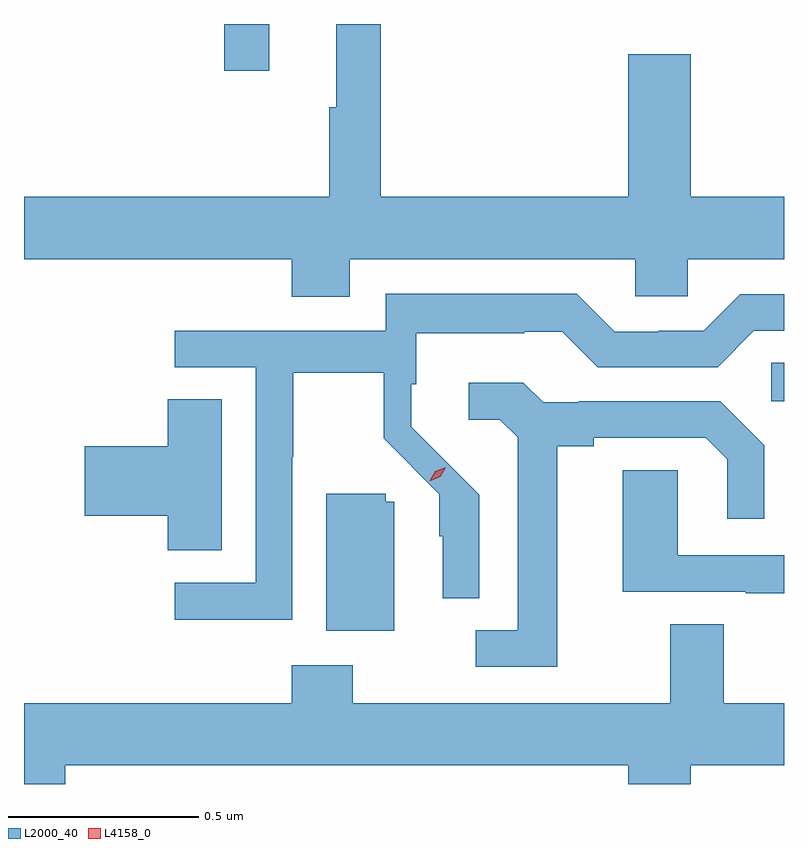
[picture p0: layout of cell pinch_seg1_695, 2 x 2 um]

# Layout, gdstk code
import gdstk
lib = gdstk.Library(unit=1e-6, precision=1e-09)
def R(c, l, rs):  # rectangles x0, y0, x1, y1
    for r in rs: c.add(gdstk.rectangle(r[:2], r[2:], *l))
def P(c, l, *ps):  # polygons
    for p in ps: c.add(gdstk.Polygon(p, *l))
L2000_40 = (2000, 40)
L4158_0 = (4158, 0)

pinch_seg1_695 = lib.new_cell('pinch_seg1_695')
R(pinch_seg1_695, L2000_40, [(668.88,570.006,668.914,570.107), (667.441,570.876,667.559,570.999)])
P(pinch_seg1_695, L2000_40, [(667.771,570.38),(668.523,570.38),(668.523,570.282),(668.661,570.282),(668.661,570.38),(668.914,570.38),(668.914,570.544),(668.668,570.544),(668.668,570.919),(668.504,570.919),(668.504,570.544),(667.853,570.544),(667.853,570.999),(667.736,570.999),(667.736,570.78),(667.717,570.78),(667.717,570.544),(666.914,570.544),(666.914,570.38),(667.619,570.38),(667.619,570.281),(667.771,570.281)],
  [(667.62,569.86),(667.623,569.86),(667.623,570.081),(667.861,570.081),(667.861,569.909),(668.007,569.762),(668.007,569.651),(668.016,569.651),(668.016,569.488),(668.112,569.488),(668.112,569.76),(667.933,569.939),(667.933,570.051),(667.946,570.051),(667.946,570.185),(668.231,570.185),(668.231,570.189),(668.331,570.189),(668.424,570.096),(668.739,570.096),(668.835,570.192),(668.914,570.192),(668.914,570.288),(668.799,570.288),(668.703,570.192),(668.585,570.192),(668.585,570.189),(668.469,570.189),(668.369,570.289),(667.866,570.289),(667.866,570.192),(667.311,570.192),(667.311,570.096),(667.524,570.096),(667.524,569.529),(667.311,569.529),(667.311,569.431),(667.62,569.431)],
  [(668.317,569.888),(668.413,569.888),(668.413,569.91),(668.708,569.91),(668.765,569.853),(668.765,569.697),(668.862,569.697),(668.862,569.89),(668.746,570.006),(668.374,570.006),(668.374,570.003),(668.28,570.003),(668.228,570.055),(668.085,570.055),(668.085,569.958),(668.166,569.958),(668.213,569.911),(668.213,569.403),(668.103,569.403),(668.103,569.307),(668.317,569.307)],
  [(667.435,570.011),(667.292,570.011),(667.292,569.888),(667.074,569.888),(667.074,569.705),(667.292,569.705),(667.292,569.614),(667.435,569.614)],
  [(668.914,569.601),(668.634,569.601),(668.634,569.825),(668.489,569.825),(668.489,569.505),(668.813,569.505),(668.813,569.501),(668.914,569.501)],
  [(667.888,569.742),(667.866,569.742),(667.866,569.763),(667.709,569.763),(667.709,569.402),(667.888,569.402)],
  [(667.022,569.048),(668.504,569.048),(668.504,568.999),(668.668,568.999),(668.668,569.048),(668.914,569.048),(668.914,569.212),(668.755,569.212),(668.755,569.42),(668.615,569.42),(668.615,569.212),(667.779,569.212),(667.779,569.311),(667.619,569.311),(667.619,569.212),(666.914,569.212),(666.914,568.999),(667.022,568.999)])
P(pinch_seg1_695, L4158_0, [(667.982,569.796),(667.982,569.797),(667.996,569.822),(668.024,569.833),(668.024,569.833),(668.024,569.833),(668.01,569.807),(667.982,569.796)])

lib.write_gds('pinch_seg1_695.gds')
